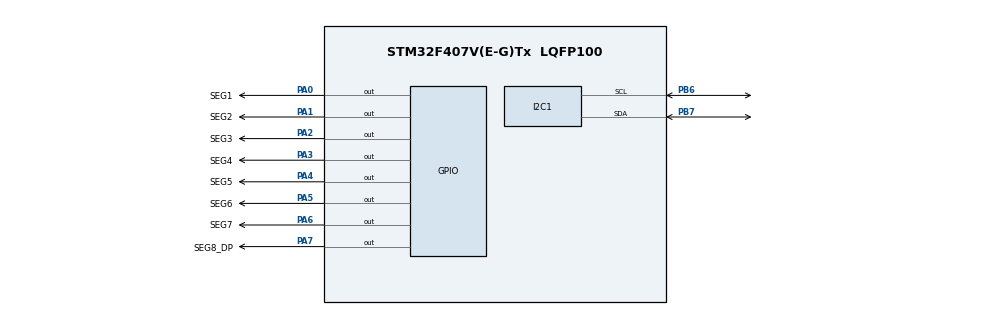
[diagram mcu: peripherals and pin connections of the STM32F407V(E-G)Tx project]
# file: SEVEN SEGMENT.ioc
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I2C1.I2C_Mode=I2C_Standard
Mcu.Family=STM32F4
Mcu.Name=STM32F407V(E-G)Tx
Mcu.Package=LQFP100
NVIC.PriorityGroup=NVIC_PRIORITYGROUP_4
PA0-WKUP.GPIO_Label=SEG1
PA0-WKUP.Signal=GPIO_Output
PA1.GPIO_Label=SEG2
PA1.Signal=GPIO_Output
PA13.Mode=Serial_Wire
PA13.Signal=SYS_JTMS-SWDIO
PA14.Mode=Serial_Wire
PA14.Signal=SYS_JTCK-SWCLK
PA2.GPIO_Label=SEG3
PA2.Signal=GPIO_Output
PA3.GPIO_Label=SEG4
PA3.Signal=GPIO_Output
PA4.GPIO_Label=SEG5
PA4.Signal=GPIO_Output
PA5.GPIO_Label=SEG6
PA5.Signal=GPIO_Output
PA6.GPIO_Label=SEG7
PA6.Signal=GPIO_Output
PA7.GPIO_Label=SEG8_DP
PA7.Signal=GPIO_Output
PB6.Mode=I2C
PB6.Signal=I2C1_SCL
PB7.Mode=I2C
PB7.Signal=I2C1_SDA
PH0-OSC_IN.Mode=HSE-External-Oscillator
PH0-OSC_IN.Signal=RCC_OSC_IN
PH1-OSC_OUT.Mode=HSE-External-Oscillator
PH1-OSC_OUT.Signal=RCC_OSC_OUT
ProjectManager.HeapSize=0x200
ProjectManager.StackSize=0x400
ProjectManager.TargetToolchain=STM32CubeIDE
RCC.48MHZClocksFreq_Value=36000000
RCC.AHBFreq_Value=72000000
RCC.APB1CLKDivider=RCC_HCLK_DIV2
RCC.APB1Freq_Value=36000000
RCC.APB1TimFreq_Value=72000000
RCC.APB2Freq_Value=72000000
RCC.APB2TimFreq_Value=72000000
RCC.CortexFreq_Value=72000000
RCC.HCLKFreq_Value=72000000
RCC.HSE_VALUE=8000000
RCC.HSI_VALUE=16000000
RCC.LSE_VALUE=32768
RCC.PLLM=8
RCC.PLLN=72
RCC.SYSCLKFreq_VALUE=72000000
RCC.SYSCLKSource=RCC_SYSCLKSOURCE_PLLCLK
RCC.VCOOutputFreq_Value=144000000
board=custom

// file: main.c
#include "main.h"

/* USER CODE BEGIN Includes */
#include "stdio.h"
#include "SEV-SEG.h"
/* USER CODE END Includes */

/* USER CODE BEGIN PD */
char buffer[20];
SevenSeg_Config_t seg_config =
{
    .gpio_port = GPIOA,
    .PIN_A = GPIO_PIN_0,
    .PIN_B = GPIO_PIN_1,
    .PIN_C = GPIO_PIN_2,
    .PIN_D = GPIO_PIN_3,
    .PIN_E = GPIO_PIN_4,
    .PIN_F = GPIO_PIN_5,
    .PIN_G = GPIO_PIN_6,
    .PIN_DP = GPIO_PIN_7,
    .type = SEVEN_SEG_COMMON_CATHODE  // Change to SEVEN_SEG_COMMON_ANODE if needed
};
/* USER CODE END PD */

I2C_HandleTypeDef hi2c1;

void SystemClock_Config(void);
static void MX_GPIO_Init(void);
static void MX_I2C1_Init(void);

int main(void)
{

  /* MCU Configuration--------------------------------------------------------*/

  /* Reset of all peripherals, Initializes the Flash interface and the Systick. */
  HAL_Init();

  /* Configure the system clock */
  SystemClock_Config();

  /* Initialize all configured peripherals */
  MX_GPIO_Init();
  MX_I2C1_Init();
  /* USER CODE BEGIN 2 */
  LCD_INIT();
  SEVEN_SEG_INIT(&seg_config);
  /* USER CODE END 2 */

  /* Infinite loop */
  /* USER CODE BEGIN WHILE */
  while (1)
  {
	  for (uint8_t i = 0; i < 10; i++)
	  {
		  SEVEN_SEG_DISPLAYDIGIT(i);
		  HAL_Delay(500);
	  }

	  // Display hex characters
	  SEVEN_SEG_DISPLAYCHAR('A');
	  HAL_Delay(500);
	  SEVEN_SEG_DISPLAYCHAR('B');
	  HAL_Delay(500);
	  SEVEN_SEG_DISPLAYCHAR('C');
	  HAL_Delay(500);
	  SEVEN_SEG_DISPLAYCHAR('D');
	  HAL_Delay(500);
	  SEVEN_SEG_DISPLAYCHAR('E');
	  HAL_Delay(500);
	  SEVEN_SEG_DISPLAYCHAR('F');
	  HAL_Delay(500);

	  SEVEN_SEG_ENABLEDECIMALPOINT();
	  SEVEN_SEG_DISPLAYDIGIT(5);
	  HAL_Delay(1000);
	  SEVEN_SEG_DISABLEDECIMALPOINT();

    /* USER CODE END WHILE */

  }
}
